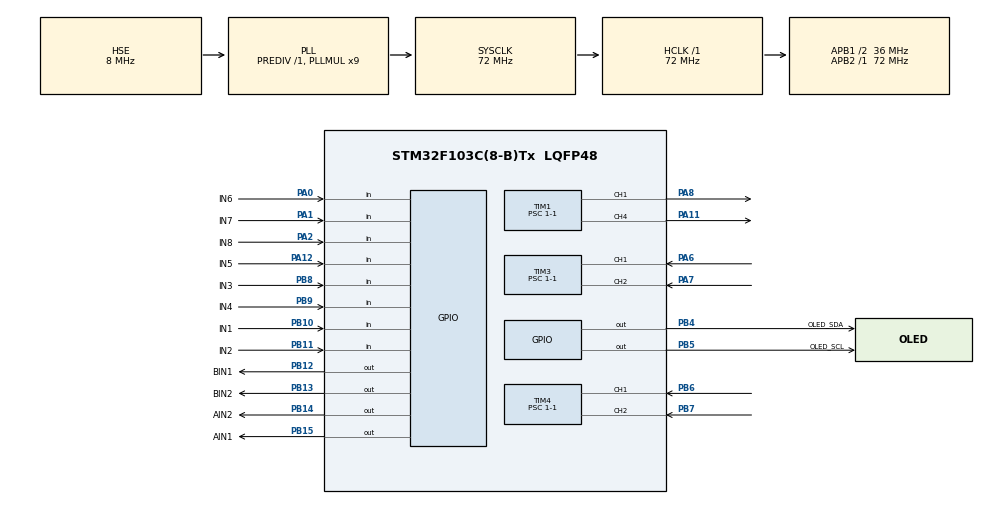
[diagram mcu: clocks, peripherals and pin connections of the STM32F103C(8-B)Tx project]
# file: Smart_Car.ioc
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Mcu.Family=STM32F1
Mcu.Name=STM32F103C(8-B)Tx
Mcu.Package=LQFP48
NVIC.PriorityGroup=NVIC_PRIORITYGROUP_4
NVIC.TIM2_IRQn=true\:0\:0\:false\:false\:true\:true\:true\:true
PA0-WKUP.GPIO_Label=IN6
PA0-WKUP.GPIO_PuPd=GPIO_PULLUP
PA0-WKUP.Signal=GPIO_Input
PA1.GPIO_Label=IN7
PA1.GPIO_PuPd=GPIO_PULLUP
PA1.Signal=GPIO_Input
PA11.Signal=S_TIM1_CH4
PA12.GPIO_Label=IN5
PA12.GPIO_PuPd=GPIO_PULLUP
PA12.Signal=GPIO_Input
PA13.Mode=Serial_Wire
PA13.Signal=SYS_JTMS-SWDIO
PA14.Mode=Serial_Wire
PA14.Signal=SYS_JTCK-SWCLK
PA2.GPIO_Label=IN8
PA2.GPIO_PuPd=GPIO_PULLUP
PA2.Signal=GPIO_Input
PA6.Signal=S_TIM3_CH1
PA7.Signal=S_TIM3_CH2
PA8.Signal=S_TIM1_CH1
PB10.GPIO_Label=IN1
PB10.GPIO_PuPd=GPIO_PULLUP
PB10.Signal=GPIO_Input
PB11.GPIO_Label=IN2
PB11.GPIO_PuPd=GPIO_PULLUP
PB11.Signal=GPIO_Input
PB12.GPIO_Label=BIN1
PB12.Signal=GPIO_Output
PB13.GPIO_Label=BIN2
PB13.Signal=GPIO_Output
PB14.GPIO_Label=AIN2
PB14.Signal=GPIO_Output
PB15.GPIO_Label=AIN1
PB15.Signal=GPIO_Output
PB4.GPIO_Label=OLED_SDA
PB4.GPIO_ModeDefaultOutputPP=GPIO_MODE_OUTPUT_OD
PB4.GPIO_PuPd=GPIO_PULLUP
PB4.GPIO_Speed=GPIO_SPEED_FREQ_HIGH
PB4.PinState=GPIO_PIN_SET
PB4.Signal=GPIO_Output
PB5.GPIO_Label=OLED_SCL
PB5.GPIO_ModeDefaultOutputPP=GPIO_MODE_OUTPUT_OD
PB5.GPIO_PuPd=GPIO_PULLUP
PB5.GPIO_Speed=GPIO_SPEED_FREQ_HIGH
PB5.PinState=GPIO_PIN_SET
PB5.Signal=GPIO_Output
PB6.Signal=S_TIM4_CH1
PB7.Signal=S_TIM4_CH2
PB8.GPIO_Label=IN3
PB8.GPIO_PuPd=GPIO_PULLUP
PB8.Signal=GPIO_Input
PB9.GPIO_Label=IN4
PB9.GPIO_PuPd=GPIO_PULLUP
PB9.Signal=GPIO_Input
PD0-OSC_IN.Mode=HSE-External-Oscillator
PD0-OSC_IN.Signal=RCC_OSC_IN
PD1-OSC_OUT.Mode=HSE-External-Oscillator
PD1-OSC_OUT.Signal=RCC_OSC_OUT
ProjectManager.HeapSize=0x200
ProjectManager.StackSize=0x400
ProjectManager.TargetToolchain=MDK-ARM V5.32
RCC.AHBFreq_Value=72000000
RCC.APB1CLKDivider=RCC_HCLK_DIV2
RCC.APB1Freq_Value=36000000
RCC.APB1TimFreq_Value=72000000
RCC.APB2Freq_Value=72000000
RCC.APB2TimFreq_Value=72000000
RCC.HCLKFreq_Value=72000000
RCC.PLLMUL=RCC_PLL_MUL9
RCC.PLLSourceVirtual=RCC_PLLSOURCE_HSE
RCC.SYSCLKFreq_VALUE=72000000
RCC.SYSCLKSource=RCC_SYSCLKSOURCE_PLLCLK
RCC.USBFreq_Value=72000000
SH.S_TIM1_CH1.0=TIM1_CH1,PWM Generation1 CH1
SH.S_TIM1_CH4.0=TIM1_CH4,PWM Generation4 CH4
SH.S_TIM3_CH1.0=TIM3_CH1,Encoder_Interface
SH.S_TIM3_CH2.0=TIM3_CH2,Encoder_Interface
SH.S_TIM4_CH1.0=TIM4_CH1,Encoder_Interface
SH.S_TIM4_CH2.0=TIM4_CH2,Encoder_Interface
TIM1.Channel-PWM\ Generation1\ CH1=TIM_CHANNEL_1
TIM1.Channel-PWM\ Generation4\ CH4=TIM_CHANNEL_4
TIM1.Period=10000-1
TIM1.Prescaler=1-1
TIM1.Pulse-PWM\ Generation4\ CH4=5000
TIM2.Period=10000-1
TIM2.Prescaler=72-1
TIM3.EncoderMode=TIM_ENCODERMODE_TI12
TIM3.Prescaler=1-1
TIM4.EncoderMode=TIM_ENCODERMODE_TI12
TIM4.Prescaler=1-1
VP_TIM1_VS_ClockSourceINT.Mode=Internal
VP_TIM2_VS_ClockSourceINT.Mode=Internal
board=custom

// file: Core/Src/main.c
/* USER CODE BEGIN Header */
/**
  ******************************************************************************
  * @file           : main.c
  * @brief          : Main program body
  ******************************************************************************
  * @attention
  *
  * Copyright (c) 2025 STMicroelectronics.
  * All rights reserved.
  *
  * This software is licensed under terms that can be found in the LICENSE file
  * in the root directory of this software component.
  * If no LICENSE file comes with this software, it is provided AS-IS.
  *
  ******************************************************************************
  */
/* USER CODE END Header */
#include "main.h"
#include "tim.h"
#include "gpio.h"

/* USER CODE BEGIN Includes */
#include "oled.h"
#include "motor.h"
#include "encoder.h"
#include "huidu.h"
#include <stdio.h>
/* USER CODE END Includes */

void SystemClock_Config(void);

/* USER CODE BEGIN 0 */

uint8_t Huidu_Datas = 0;
int basic_speed = 8000;
/* USER CODE END 0 */

int main(void)
{

  /* MCU Configuration--------------------------------------------------------*/

  /* Reset of all peripherals, Initializes the Flash interface and the Systick. */
  HAL_Init();

  /* Configure the system clock */
  SystemClock_Config();

  /* Initialize all configured peripherals */
  MX_GPIO_Init();
  MX_TIM1_Init();
  MX_TIM4_Init();
  MX_TIM3_Init();
  MX_TIM2_Init();
  /* USER CODE BEGIN 2 */

  OLED_Init();
  OLED_Clear();

  motor_init();

  encoder_init();

  HAL_TIM_Base_Start_IT(&htim2);

  /* USER CODE END 2 */

  /* Infinite loop */
  while (1)
  {

    /* USER CODE BEGIN 3 */

    OLED_ShowNum(0, 0, Huidu_Datas, 3, 16, 1);
    OLED_ShowNum(0,16, Huidu_Error, 2, 16, 1);
    OLED_ShowNum(0, 32, distance, 5, 16, 1);
    //OLED_ShowNum(0, 48, motor2_speed, 4, 16, 1);

    OLED_Refresh();

  }
  /* USER CODE END 3 */
}

void SystemClock_Config(void)
{
  RCC_OscInitTypeDef RCC_OscInitStruct = {0};
  RCC_ClkInitTypeDef RCC_ClkInitStruct = {0};

  /** Initializes the RCC Oscillators according to the specified parameters
  * in the RCC_OscInitTypeDef structure.
  */
  RCC_OscInitStruct.OscillatorType = RCC_OSCILLATORTYPE_HSE;
  RCC_OscInitStruct.HSEState = RCC_HSE_ON;
  RCC_OscInitStruct.HSEPredivValue = RCC_HSE_PREDIV_DIV1;
  RCC_OscInitStruct.HSIState = RCC_HSI_ON;
  RCC_OscInitStruct.PLL.PLLState = RCC_PLL_ON;
  RCC_OscInitStruct.PLL.PLLSource = RCC_PLLSOURCE_HSE;
  RCC_OscInitStruct.PLL.PLLMUL = RCC_PLL_MUL9;
  if (HAL_RCC_OscConfig(&RCC_OscInitStruct) != HAL_OK)
  {
    Error_Handler();
  }

  /** Initializes the CPU, AHB and APB buses clocks
  */
  RCC_ClkInitStruct.ClockType = RCC_CLOCKTYPE_HCLK|RCC_CLOCKTYPE_SYSCLK
                              |RCC_CLOCKTYPE_PCLK1|RCC_CLOCKTYPE_PCLK2;
  RCC_ClkInitStruct.SYSCLKSource = RCC_SYSCLKSOURCE_PLLCLK;
  RCC_ClkInitStruct.AHBCLKDivider = RCC_SYSCLK_DIV1;
  RCC_ClkInitStruct.APB1CLKDivider = RCC_HCLK_DIV2;
  RCC_ClkInitStruct.APB2CLKDivider = RCC_HCLK_DIV1;

  if (HAL_RCC_ClockConfig(&RCC_ClkInitStruct, FLASH_LATENCY_2) != HAL_OK)
  {
    Error_Handler();
  }
}

/* USER CODE BEGIN 4 */
void HAL_TIM_PeriodElapsedCallback(TIM_HandleTypeDef *htim)
{

  Huidu_Datas = gw_gray_serial_read();

  if(Huidu_Datas==255)
  {
      Turn_PID_Flag = 1;
  }

  Huidu_Error = Huidu_Proc(Huidu_Datas);

  MEASURE_MOTORS_SPEED();

  if(distance>3000&&distance<5000)
  {
    basic_speed = 2000;
  }

  else if(distance>24000&&distance<26000)
  {
    basic_speed = 2000;
  }

  else
  {
    basic_speed = 8000;
  }

  if(basic_speed==2000)
  {
    pid_Turn.Kp = 10.0;
    pid_Turn.Kd = 2.0;
  }

  if (basic_speed == 8000)
  {
    pid_Turn.Kp = 100.0;
    pid_Turn.Kd = 10.0;
  }

  float out = pid_calculate(&pid_Turn, Huidu_Error, 0);

  if(Turn_PID_Flag == 1)
  {

    //basic_speed = 2000;
    SET_MOTORS_SPEED(Huidu_Error + out + basic_speed-2000, Huidu_Error - out + basic_speed+2000);

    Turn_PID_Flag = 0;
  }

  else
  {

    SET_MOTORS_SPEED(Huidu_Error + out + basic_speed, Huidu_Error - out + basic_speed);
  }

  if(distance>26000)
  {
    MOTORS_DISABLE();
  }

}

/* USER CODE END 4 */

void Error_Handler(void)
{
  __disable_irq();
  while (1)
  {
  }
}
